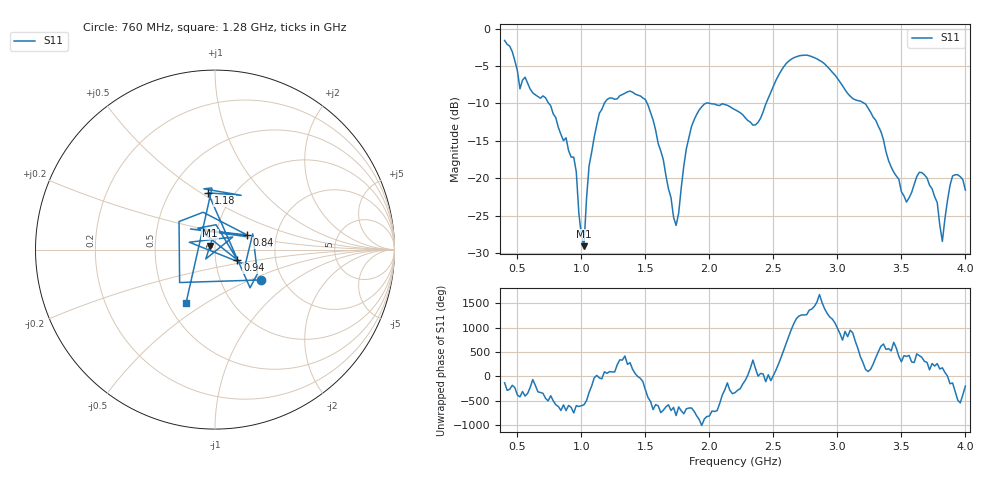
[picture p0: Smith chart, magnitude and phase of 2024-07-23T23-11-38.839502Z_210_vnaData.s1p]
!Created with skrf (http://scikit-rf.org).
# Hz S RI R 50.0
!freq ReS11 ImS11
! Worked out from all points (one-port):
!   181 points, 400 MHz to 4 GHz, reference 50 ohm
!   lowest |S11| = -29.1 dB at 1.02 GHz (marker M1), VSWR 1.07, Z = 47.3 + j2.05 ohm
!   |S11| at or under -10 dB: 1.515 GHz to 1.97 GHz (455.3 MHz wide, 26.1 % of centre); 2.008 GHz to 2.442 GHz (434.2 MHz wide, 19.5 % of centre); 3.213 GHz to end of sweep (the widest 3 of 4)
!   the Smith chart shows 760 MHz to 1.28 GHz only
!   S11 on the Smith chart (normalised r, x): 760 MHz: 1.55, -0.58; 840 MHz: 1.41, +0.24; 940 MHz: 1.28, -0.15; 1.18 GHz: 0.76, +0.54; 1.28 GHz: 0.62, -0.42
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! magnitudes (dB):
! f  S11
! 400 MHz  -1.6
! 520 MHz  -8.0
! 760 MHz  -10.3
! 840 MHz  -14.1
! 860 MHz  -15.0
! 940 MHz  -17.2
! 1.02 GHz  -29.1
! 1.06 GHz  -18.3
! 1.18 GHz  -9.9
! 1.28 GHz  -9.4
! 1.3 GHz  -9.0
! 1.5 GHz  -9.5
! 1.72 GHz  -25.2
! 1.76 GHz  -24.7
! 1.82 GHz  -16.1
! 1.9 GHz  -11.5
! 2.2 GHz  -10.8
! 2.36 GHz  -12.9
! 2.66 GHz  -3.9
! 2.88 GHz  -4.4
! 3.1 GHz  -9.0
! 3.3 GHz  -12.3
! 3.56 GHz  -22.6
! 3.7 GHz  -20.0
! 3.78 GHz  -23.3
! 3.82 GHz  -28.4
! 3.9 GHz  -19.7
! 4 GHz  -21.6
